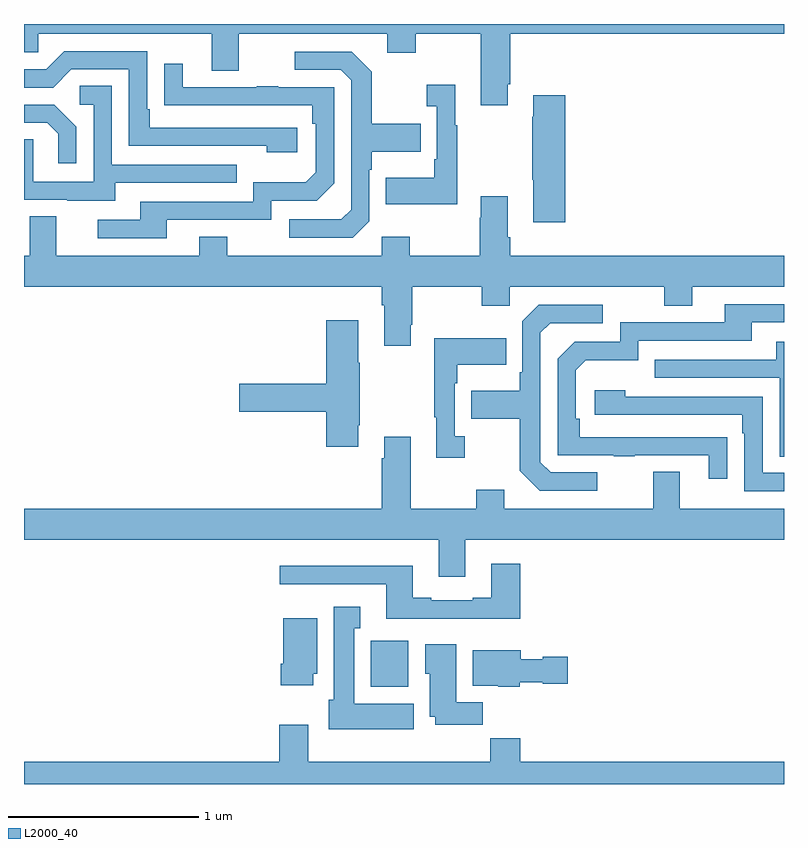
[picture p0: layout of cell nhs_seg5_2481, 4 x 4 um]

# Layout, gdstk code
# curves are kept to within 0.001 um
import gdstk
lib = gdstk.Library(unit=1e-6, precision=1e-09)
def R(c, l, rs):  # rectangles x0, y0, x1, y1
    for r in rs: c.add(gdstk.rectangle(r[:2], r[2:], *l))
def P(c, l, *ps):  # polygons
    for p in ps: c.add(gdstk.Polygon(p, *l))
L2000_40 = (2000, 40)

nhs_seg5_2481 = lib.new_cell('nhs_seg5_2481')
R(nhs_seg5_2481, L2000_40, [(256.826,865.31,257.023,865.552)])
P(nhs_seg5_2481, L2000_40, [(257.545,868.483),(257.558,868.483),(257.558,868.748),(259,868.748),(259,868.799),(255,868.799),(255,868.65),(255.075,868.65),(255.075,868.748),(255.989,868.748),(255.989,868.554),(256.129,868.554),(256.129,868.748),(256.913,868.748),(256.913,868.649),(257.061,868.649),(257.061,868.748),(257.405,868.748),(257.405,868.371),(257.545,868.371)],
  [(256.438,868.254),(255.661,868.254),(255.661,868.351),(255.648,868.351),(255.648,868.656),(255.213,868.656),(255.117,868.56),(255,868.56),(255,868.464),(255.153,868.464),(255.249,868.56),(255.552,868.56),(255.552,868.158),(256.277,868.158),(256.277,868.124),(256.438,868.124)],
  [(256.818,867.762),(256.818,868.031),(256.831,868.031),(256.831,868.127),(257.087,868.127),(257.087,868.275),(256.831,868.275),(256.831,868.547),(256.725,868.653),(256.425,868.653),(256.425,868.557),(256.668,868.557),(256.722,868.503),(256.722,867.822),(256.671,867.771),(256.395,867.771),(256.395,867.675),(256.731,867.675)],
  [(255.751,867.768),(256.302,867.768),(256.302,867.87),(256.542,867.87),(256.632,867.96),(256.632,868.467),(256.337,868.467),(256.337,868.472),(256.225,868.472),(256.225,868.467),(255.835,868.467),(255.835,868.591),(255.739,868.591),(255.739,868.372),(256.516,868.371),(256.516,868.274),(256.536,868.274),(256.536,868.02),(256.483,867.967),(256.206,867.967),(256.206,867.864),(255.611,867.864),(255.611,867.768),(255.387,867.768),(255.387,867.672),(255.751,867.672)],
  [(257.281,868.267),(257.269,868.267),(257.269,868.48),(257.121,868.48),(257.121,868.367),(257.172,868.367),(257.172,868.087),(257.16,868.087),(257.16,867.991),(256.903,867.991),(256.903,867.851),(257.281,867.851)],
  [(255.481,867.963),(256.121,867.963),(256.121,868.059),(255.462,868.059),(255.462,868.475),(255.294,868.475),(255.294,868.374),(255.366,868.374),(255.366,867.969),(255.048,867.969),(255.048,868.193),(255,868.193),(255,867.873),(255.227,867.873),(255.227,867.869),(255.481,867.869)],
  [(257.849,868.423),(257.681,868.423),(257.681,868.31),(257.674,868.31),(257.674,867.979),(257.681,867.979),(257.681,867.756),(257.849,867.756)],
  [(255.276,868.258),(255.16,868.374),(255,868.374),(255,868.278),(255.122,868.278),(255.179,868.221),(255.179,868.065),(255.276,868.065)],
  [(257.035,867.217),(257.043,867.217),(257.043,867.416),(257.41,867.416),(257.41,867.317),(257.556,867.317),(257.556,867.416),(258.37,867.416),(258.37,867.317),(258.517,867.317),(258.517,867.416),(259,867.416),(259,867.58),(257.558,867.58),(257.558,867.676),(257.545,867.676),(257.545,867.892),(257.405,867.892),(257.405,867.779),(257.398,867.779),(257.398,867.58),(257.031,867.58),(257.031,867.679),(256.884,867.679),(256.884,867.58),(256.071,867.58),(256.071,867.679),(255.923,867.679),(255.923,867.58),(255.169,867.58),(255.169,867.788),(255.029,867.788),(255.029,867.58),(255,867.58),(255,867.416),(256.883,867.416),(256.883,867.32),(256.895,867.32),(256.895,867.105),(257.035,867.105)],
  [(258.701,866.624),(257.924,866.625),(257.924,866.722),(257.904,866.722),(257.904,866.976),(257.957,867.029),(258.234,867.029),(258.234,867.132),(258.829,867.132),(258.829,867.228),(259,867.228),(259,867.324),(258.689,867.324),(258.689,867.228),(258.138,867.228),(258.138,867.126),(257.898,867.126),(257.808,867.036),(257.808,866.529),(258.103,866.529),(258.103,866.524),(258.215,866.524),(258.215,866.529),(258.605,866.529),(258.605,866.406),(258.701,866.406)],
  [(258.016,866.439),(257.772,866.439),(257.718,866.493),(257.718,867.174),(257.769,867.225),(258.046,867.225),(258.046,867.321),(257.709,867.321),(257.622,867.234),(257.622,866.965),(257.61,866.965),(257.61,866.869),(257.353,866.869),(257.353,866.722),(257.61,866.722),(257.61,866.449),(257.715,866.343),(258.016,866.343)],
  [(256.759,866.686),(256.767,866.686),(256.767,867.017),(256.759,867.017),(256.759,867.241),(256.592,867.241),(256.592,866.906),(256.134,866.906),(256.134,866.759),(256.592,866.759),(256.592,866.574),(256.759,866.574)],
  [(257.32,866.63),(257.268,866.63),(257.268,866.909),(257.281,866.909),(257.281,867.005),(257.537,867.005),(257.537,867.145),(257.16,867.145),(257.16,866.729),(257.171,866.729),(257.171,866.517),(257.32,866.517)],
  [(259,867.127),(258.959,867.127),(258.959,867.033),(258.319,867.033),(258.319,866.937),(258.978,866.937),(258.978,866.521),(259,866.521)],
  [(259,866.436),(258.888,866.436),(258.888,866.838),(258.164,866.838),(258.164,866.872),(258.003,866.872),(258.003,866.742),(258.779,866.742),(258.779,866.645),(258.792,866.645),(258.792,866.34),(259,866.34)],
  [(257.323,866.084),(259,866.084),(259,866.248),(258.451,866.248),(258.451,866.443),(258.311,866.443),(258.311,866.248),(257.527,866.248),(257.527,866.347),(257.38,866.347),(257.38,866.248),(257.035,866.248),(257.035,866.626),(256.895,866.626),(256.895,866.513),(256.883,866.513),(256.883,866.248),(255,866.248),(255,866.084),(257.183,866.084),(257.183,865.89),(257.323,865.89)],
  [(257.612,865.957),(257.459,865.957),(257.459,865.78),(257.363,865.78),(257.363,865.767),(257.143,865.767),(257.143,865.78),(257.047,865.78),(257.047,865.948),(256.347,865.948),(256.347,865.851),(256.907,865.851),(256.907,865.67),(257.612,865.67)],
  [(257.05,865.222),(256.738,865.222),(256.738,865.619),(256.771,865.619),(256.771,865.732),(256.631,865.732),(256.631,865.242),(256.604,865.242),(256.604,865.088),(257.05,865.088)],
  [(256.522,865.38),(256.543,865.38),(256.543,865.672),(256.364,865.672),(256.364,865.432),(256.352,865.432),(256.352,865.32),(256.522,865.32)],
  [(257.414,865.228),(257.275,865.228),(257.275,865.534),(257.111,865.534),(257.111,865.38),(257.135,865.38),(257.135,865.154),(257.165,865.154),(257.165,865.11),(257.414,865.11)],
  [(257.61,865.334),(257.73,865.334),(257.73,865.327),(257.863,865.327),(257.863,865.469),(257.73,865.469),(257.73,865.456),(257.614,865.456),(257.614,865.504),(257.363,865.504),(257.363,865.316),(257.496,865.316),(257.496,865.31),(257.61,865.31)],
  [(259,864.916),(257.612,864.916),(257.612,865.04),(257.455,865.04),(257.455,864.916),(256.495,864.916),(256.495,865.111),(256.343,865.111),(256.343,864.916),(255,864.916),(255,864.799),(259,864.799)])

lib.write_gds('nhs_seg5_2481.gds')
